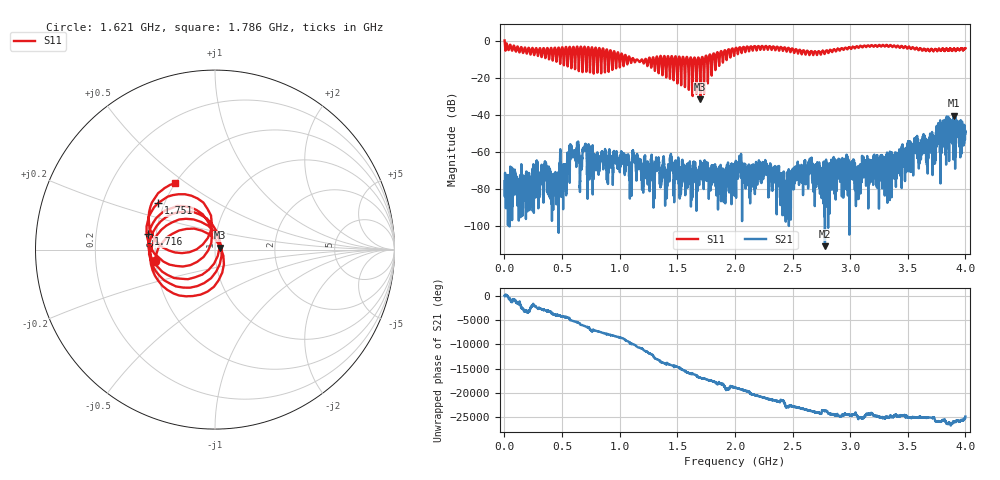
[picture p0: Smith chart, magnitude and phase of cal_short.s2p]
!Created with skrf (http://scikit-rf.org).
# GHz S RI R 50.0
!freq ReS11 ImS11 ReS21 ImS21 ReS12 ImS12 ReS22 ImS22
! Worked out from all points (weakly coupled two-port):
!   4000 points, 1 MHz to 4 GHz, reference 50 ohm
!   highest |S21| = -40.19 dB at 3.898 GHz (marker M1); lowest = -110.7 dB at 2.781 GHz (marker M2)
!   lowest |S11| = -31.2 dB at 1.699 GHz (marker M3), VSWR 1.06, Z = 52.6 + j1.1 ohm
!   |S11| at or under -10 dB: 1.157 GHz to 1.187 GHz (30.65 MHz wide, 2.62 % of centre); 1.196 GHz to 1.219 GHz (23.12 MHz wide, 1.91 % of centre); 1.23 GHz to 1.251 GHz (20.82 MHz wide, 1.68 % of centre) (the widest 3 of 47)
!   S12 and S22 are empty: the file has one direction only
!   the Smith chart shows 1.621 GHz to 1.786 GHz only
!   S11 on the Smith chart (normalised r, x): 1.621 GHz: 0.49, -0.07; 1.716 GHz: 0.45, +0.09; 1.751 GHz: 0.46, +0.29; 1.786 GHz: 0.50, +0.45
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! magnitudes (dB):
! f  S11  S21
! 1 MHz  0.5  -75.6
! 340 MHz  -3.6  -79.6
! 425 MHz  -6.8  -75.8
! 589 MHz  -5.2  -60.3
! 668 MHz  -3.9  -67.4
! 694 MHz  -2.9  -57.6
! 736 MHz  -6.9  -71.9
! 858 MHz  -4.0  -64.8
! 1.334 GHz  -14.2  -66.1
! 1.621 GHz  -9.3  -72.3
! 1.699 GHz  -31.2  -64.5
! 1.716 GHz  -8.4  -66.7
! 1.751 GHz  -7.8  -69.8
! 1.786 GHz  -7.3  -77.0
! 2.001 GHz  -4.4  -73.8
! 2.257 GHz  -3.7  -68.7
! 2.439 GHz  -3.7  -78.0
! 2.667 GHz  -5.4  -67.2
! 2.781 GHz  -6.4  -110.7
! 3.334 GHz  -2.9  -64.6
! 3.898 GHz  -3.9  -40.2
! 4 GHz  -3.7  -49.8
